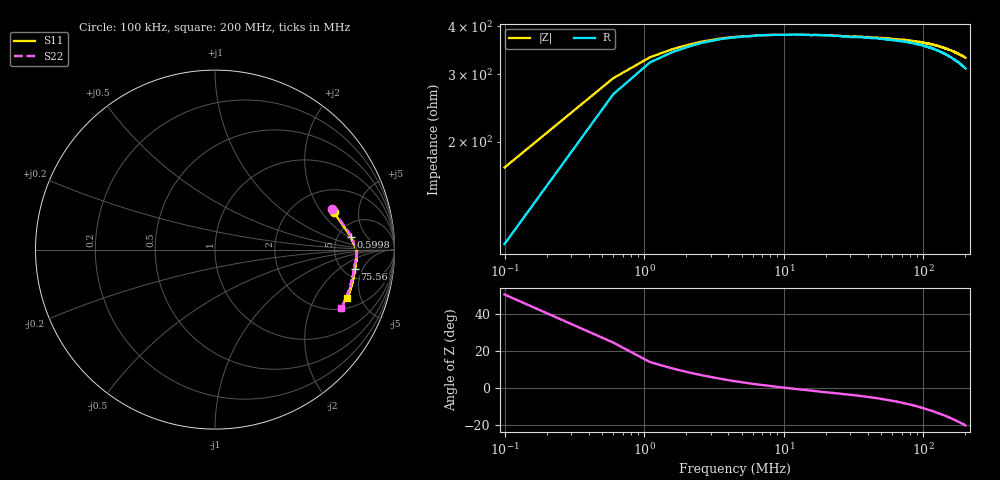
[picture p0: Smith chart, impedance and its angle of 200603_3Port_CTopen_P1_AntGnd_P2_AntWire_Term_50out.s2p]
# MHz S RI R 50
! S-Parameters data
! Freq  reS11  imS11  reS21  imS21  reS12  imS12  reS22  imS22
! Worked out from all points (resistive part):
!   401 points, 100 kHz to 200 MHz, reference 50 ohm
!   read as one part in series: R = 322 ohm at 1.099 MHz
!   S11 on the Smith chart (normalised r, x): 100 kHz: 3.28, +2.64; 599.8 kHz: 6.51, +2.23; 75.56 MHz: 6.31, -3.55; 200 MHz: 2.71, -3.81
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0.1  0.6614 0.2091  0.341 -0.2167  0.3382 -0.226  0.6527 0.227
0.59975  0.7553 0.0728  0.2452 -0.0821  0.2451 -0.0882  0.7499 0.0913
1.59925  0.7779 0.0214  0.2203 -0.0323  0.2211 -0.0376  0.7741 0.0396
2.099  0.7812 0.0139  0.2164 -0.0256  0.2173 -0.0307  0.7792 0.0322
2.59875  0.784 0.00854  0.2137 -0.0211  0.2145 -0.0261  0.782 0.0268
3.0985  0.7853 0.00457  0.2121 -0.0178  0.2133 -0.0227  0.7834 0.0226
4.098  0.7884 -0.00135  0.2101 -0.0132  0.2112 -0.0181  0.786 0.0163
5.59725  0.7899 -0.00722  0.2091 -0.00904  0.21 -0.0138  0.7882 0.00974
7.0965  0.7898 -0.012  0.2079 -0.00642  0.2093 -0.0112  0.7874 0.00416
13.0935  0.7898 -0.024  0.2076 -0.00147  0.209 -0.00609  0.7883 -0.0111
21.58925  0.7902 -0.0381  0.2082 0.00124  0.2098 -0.00359  0.7868 -0.0282
27.0865  0.7898 -0.0449  0.2095 0.00225  0.2104 -0.00254  0.7861 -0.0371
30.58475  0.7897 -0.0498  0.2097 0.00231  0.2112 -0.00255  0.7876 -0.0444
33.58325  0.7897 -0.0549  0.2097 0.00211  0.2108 -0.00251  0.7851 -0.0507
44.57775  0.7853 -0.0701  0.2099 0.00251  0.2112 -0.00211  0.7809 -0.0697
67.0665  0.7815 -0.0971  0.2116 0.00343  0.213 -0.00116  0.7759 -0.1066
75.56225  0.7785 -0.1076  0.2121 0.00363  0.2139 -0.000885  0.7736 -0.1203
100.05  0.7733 -0.1394  0.2139 0.00386  0.2157 -0.000717  0.7643 -0.1605
133.5333  0.7653 -0.1823  0.2178 0.00357  0.2195 -0.000639  0.7489 -0.2172
148.5257  0.7596 -0.2013  0.2193 0.00331  0.2211 -0.00104  0.7401 -0.2414
167.0165  0.7533 -0.2259  0.2221 0.00251  0.2234 -0.00152  0.7272 -0.2722
200  0.7375 -0.2695  0.2264 0.00115  0.2279 -0.00283  0.7032 -0.3253
